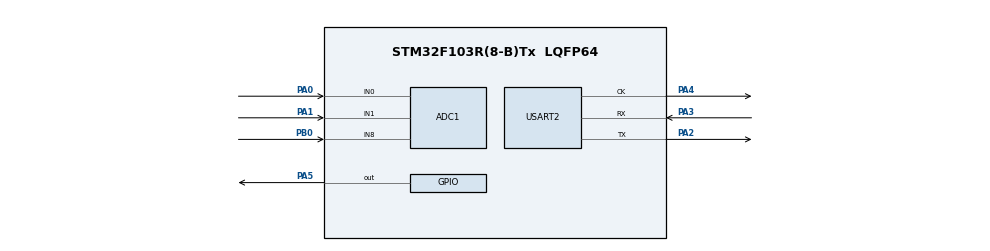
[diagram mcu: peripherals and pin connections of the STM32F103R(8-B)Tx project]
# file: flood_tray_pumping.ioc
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ADC1.Channel-0\#ChannelRegularConversion=ADC_CHANNEL_0
ADC1.Channel-1\#ChannelRegularConversion=ADC_CHANNEL_1
ADC1.Channel-2\#ChannelRegularConversion=ADC_CHANNEL_8
ADC1.NbrOfConversion=3
ADC1.NbrOfConversionFlag=1
ADC1.Rank-0\#ChannelRegularConversion=1
ADC1.Rank-1\#ChannelRegularConversion=2
ADC1.Rank-2\#ChannelRegularConversion=3
ADC1.SamplingTime-0\#ChannelRegularConversion=ADC_SAMPLETIME_28CYCLES_5
ADC1.SamplingTime-1\#ChannelRegularConversion=ADC_SAMPLETIME_55CYCLES_5
ADC1.SamplingTime-2\#ChannelRegularConversion=ADC_SAMPLETIME_71CYCLES_5
ADC1.master=1
Mcu.Family=STM32F1
Mcu.Name=STM32F103R(8-B)Tx
Mcu.Package=LQFP64
NVIC.PriorityGroup=NVIC_PRIORITYGROUP_4
PA0-WKUP.Signal=ADCx_IN0
PA1.Signal=ADCx_IN1
PA13.Mode=Serial_Wire
PA13.Signal=SYS_JTMS-SWDIO
PA14.Mode=Serial_Wire
PA14.Signal=SYS_JTCK-SWCLK
PA2.Mode=Synchronous
PA2.Signal=USART2_TX
PA3.Mode=Synchronous
PA3.Signal=USART2_RX
PA4.Mode=Synchronous
PA4.Signal=USART2_CK
PA5.Signal=GPIO_Output
PB0.Signal=ADCx_IN8
ProjectManager.HeapSize=0x200
ProjectManager.StackSize=0x400
ProjectManager.TargetToolchain=STM32CubeIDE
RCC.APB1Freq_Value=8000000
RCC.APB2Freq_Value=8000000
SH.ADCx_IN0.0=ADC1_IN0,IN0
SH.ADCx_IN1.0=ADC1_IN1,IN1
SH.ADCx_IN8.0=ADC1_IN8,IN8
USART2.VirtualMode=VM_SYNC
board=custom

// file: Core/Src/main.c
/* USER CODE BEGIN Header */
/**
  ******************************************************************************
  * @file           : main.c
  * @brief          : Main program body
  ******************************************************************************
  * @attention
  *
  * <h2><center>&copy; Copyright (c) 2022 STMicroelectronics.
  * All rights reserved.</center></h2>
  *
  * This software component is licensed by ST under BSD 3-Clause license,
  * the "License"; You may not use this file except in compliance with the
  * License. You may obtain a copy of the License at:
  *                        opensource.org/licenses/BSD-3-Clause
  *
  ******************************************************************************
  */ //yo
/* USER CODE END Header */
#include "main.h"

/* USER CODE BEGIN Includes */
#include <string.h>
#include <stdio.h>
/* USER CODE END Includes */

ADC_HandleTypeDef hadc1;

USART_HandleTypeDef husart2;

void SystemClock_Config(void);
static void MX_GPIO_Init(void);
static void MX_ADC1_Init(void);
static void MX_USART2_Init(void);

/* USER CODE BEGIN 0 */
void ADC_Select_CH0(void)
{
	ADC_ChannelConfTypeDef sConfig = {0};
	 /** Configure Regular Channel
	  */
	  sConfig.Channel = ADC_CHANNEL_0;
	  sConfig.Rank = 1; //ADC_REGULAR_RANK_1
	  sConfig.SamplingTime = ADC_SAMPLETIME_28CYCLES_5;
	  if (HAL_ADC_ConfigChannel(&hadc1, &sConfig) != HAL_OK)
	  {
	    Error_Handler();
	  }
}

void ADC_Select_CH1(void)
{
	ADC_ChannelConfTypeDef sConfig = {0};
	  /** Configure Regular Channel
	  */
	  sConfig.Channel = ADC_CHANNEL_1;
	  sConfig.Rank = 1; //ADC_REGULAR_RANK_2
	  sConfig.SamplingTime = ADC_SAMPLETIME_55CYCLES_5;
	  if (HAL_ADC_ConfigChannel(&hadc1, &sConfig) != HAL_OK)
	  {
	    Error_Handler();
	  }
}

void ADC_Select_CH8(void)
{
	ADC_ChannelConfTypeDef sConfig = {0};
	  /** Configure Regular Channel
	  */
	  sConfig.Channel = ADC_CHANNEL_8;
	  sConfig.Rank = 1; //ADC_REGULAR_RANK_3
	  sConfig.SamplingTime = ADC_SAMPLETIME_71CYCLES_5;
	  if (HAL_ADC_ConfigChannel(&hadc1, &sConfig) != HAL_OK)
	  {
	    Error_Handler();
	  }

}

uint16_t ADC_VAL[2]; //array to store values
char msg[10]; //10 character buffer

uint16_t var = 0;
float val = 0.0;
/* USER CODE END 0 */

int main(void)
{

  /* MCU Configuration--------------------------------------------------------*/

  /* Reset of all peripherals, Initializes the Flash interface and the Systick. */
  HAL_Init();

  /* Configure the system clock */
  SystemClock_Config();

  /* Initialize all configured peripherals */
  MX_GPIO_Init();
  MX_ADC1_Init();
  MX_USART2_Init();

  /* Infinite loop */
  while (1)
  {
	  ADC_Select_CH0();
	  HAL_ADC_Start(&hadc1);
	  HAL_ADC_PollForConversion(&hadc1, 1000);
	  ADC_VAL[0] = HAL_ADC_GetValue(&hadc1);
	  HAL_ADC_Stop(&hadc1);

	  ADC_Select_CH1();
	  HAL_ADC_Start(&hadc1);
	  HAL_ADC_PollForConversion(&hadc1, 1000);
	  ADC_VAL[1] = HAL_ADC_GetValue(&hadc1);
	  HAL_ADC_Stop(&hadc1);

	  ADC_Select_CH8();
	  HAL_ADC_Start(&hadc1);
	  HAL_ADC_PollForConversion(&hadc1, 1000);
	  ADC_VAL[2] = HAL_ADC_GetValue(&hadc1);
	  HAL_ADC_Stop(&hadc1);

	  HAL_USART_Transmit(&husart2, "\nSensor 1:", 10, 1000); // \n is a new line
	  sprintf(msg, "%hu\r\n", ADC_VAL[0]);
	  HAL_USART_Transmit(&husart2, (uint8_t*)msg, strlen(msg), HAL_MAX_DELAY);
	  HAL_Delay(1);

	  HAL_USART_Transmit(&husart2, "Sensor 2:", 10, 1000);
	  sprintf(msg, "%hu\r\n", ADC_VAL[1]);
	  HAL_USART_Transmit(&husart2, (uint8_t*)msg, strlen(msg), HAL_MAX_DELAY);
	  HAL_Delay(1);

	  HAL_USART_Transmit(&husart2, "Sensor 3:", 10, 1000);
	  sprintf(msg, "%hu\r\n", ADC_VAL[2]);
	  HAL_USART_Transmit(&husart2, (uint8_t*)msg, strlen(msg), HAL_MAX_DELAY);
	  HAL_Delay(1000);

  }
}

void SystemClock_Config(void)
{
  RCC_OscInitTypeDef RCC_OscInitStruct = {0};
  RCC_ClkInitTypeDef RCC_ClkInitStruct = {0};
  RCC_PeriphCLKInitTypeDef PeriphClkInit = {0};

  /** Initializes the RCC Oscillators according to the specified parameters
  * in the RCC_OscInitTypeDef structure.
  */
  RCC_OscInitStruct.OscillatorType = RCC_OSCILLATORTYPE_HSI;
  RCC_OscInitStruct.HSIState = RCC_HSI_ON;
  RCC_OscInitStruct.HSICalibrationValue = RCC_HSICALIBRATION_DEFAULT;
  RCC_OscInitStruct.PLL.PLLState = RCC_PLL_NONE;
  if (HAL_RCC_OscConfig(&RCC_OscInitStruct) != HAL_OK)
  {
    Error_Handler();
  }
  /** Initializes the CPU, AHB and APB buses clocks
  */
  RCC_ClkInitStruct.ClockType = RCC_CLOCKTYPE_HCLK|RCC_CLOCKTYPE_SYSCLK
                              |RCC_CLOCKTYPE_PCLK1|RCC_CLOCKTYPE_PCLK2;
  RCC_ClkInitStruct.SYSCLKSource = RCC_SYSCLKSOURCE_HSI;
  RCC_ClkInitStruct.AHBCLKDivider = RCC_SYSCLK_DIV1;
  RCC_ClkInitStruct.APB1CLKDivider = RCC_HCLK_DIV1;
  RCC_ClkInitStruct.APB2CLKDivider = RCC_HCLK_DIV1;

  if (HAL_RCC_ClockConfig(&RCC_ClkInitStruct, FLASH_LATENCY_0) != HAL_OK)
  {
    Error_Handler();
  }
  PeriphClkInit.PeriphClockSelection = RCC_PERIPHCLK_ADC;
  PeriphClkInit.AdcClockSelection = RCC_ADCPCLK2_DIV2;
  if (HAL_RCCEx_PeriphCLKConfig(&PeriphClkInit) != HAL_OK)
  {
    Error_Handler();
  }
}

static void MX_ADC1_Init(void)
{

  //ADC_ChannelConfTypeDef sConfig = {0};

  /** Common config
  */
  hadc1.Instance = ADC1;
  hadc1.Init.ScanConvMode = ADC_SCAN_ENABLE;
  hadc1.Init.ContinuousConvMode = DISABLE;
  hadc1.Init.DiscontinuousConvMode = DISABLE;
  hadc1.Init.ExternalTrigConv = ADC_SOFTWARE_START;
  hadc1.Init.DataAlign = ADC_DATAALIGN_RIGHT;
  hadc1.Init.NbrOfConversion = 3;
  if (HAL_ADC_Init(&hadc1) != HAL_OK)
  {
    Error_Handler();
  }
  /** Configure Regular Channel
  */
  /*sConfig.Channel = ADC_CHANNEL_0;
  sConfig.Rank = ADC_REGULAR_RANK_1;
  sConfig.SamplingTime = ADC_SAMPLETIME_28CYCLES_5;
  if (HAL_ADC_ConfigChannel(&hadc1, &sConfig) != HAL_OK)
  {
    Error_Handler();
  }
  * Configure Regular Channel

  sConfig.Channel = ADC_CHANNEL_1;
  sConfig.Rank = ADC_REGULAR_RANK_2;
  sConfig.SamplingTime = ADC_SAMPLETIME_55CYCLES_5;
  if (HAL_ADC_ConfigChannel(&hadc1, &sConfig) != HAL_OK)
  {
    Error_Handler();
  }
  * Configure Regular Channel

  sConfig.Channel = ADC_CHANNEL_8;
  sConfig.Rank = ADC_REGULAR_RANK_3;
  sConfig.SamplingTime = ADC_SAMPLETIME_71CYCLES_5;
  if (HAL_ADC_ConfigChannel(&hadc1, &sConfig) != HAL_OK)
  {
    Error_Handler();
  }*/

}

static void MX_USART2_Init(void)
{

  husart2.Instance = USART2;
  husart2.Init.BaudRate = 115200;
  husart2.Init.WordLength = USART_WORDLENGTH_8B;
  husart2.Init.StopBits = USART_STOPBITS_1;
  husart2.Init.Parity = USART_PARITY_NONE;
  husart2.Init.Mode = USART_MODE_TX_RX;
  husart2.Init.CLKPolarity = USART_POLARITY_LOW;
  husart2.Init.CLKPhase = USART_PHASE_1EDGE;
  husart2.Init.CLKLastBit = USART_LASTBIT_DISABLE;
  if (HAL_USART_Init(&husart2) != HAL_OK)
  {
    Error_Handler();
  }

}

static void MX_GPIO_Init(void)
{
  GPIO_InitTypeDef GPIO_InitStruct = {0};

  /* GPIO Ports Clock Enable */
  __HAL_RCC_GPIOA_CLK_ENABLE();
  __HAL_RCC_GPIOB_CLK_ENABLE();

  /*Configure GPIO pin Output Level */
  HAL_GPIO_WritePin(GPIOA, GPIO_PIN_5, GPIO_PIN_RESET);

  /*Configure GPIO pin : PA5 */
  GPIO_InitStruct.Pin = GPIO_PIN_5;
  GPIO_InitStruct.Mode = GPIO_MODE_OUTPUT_PP;
  GPIO_InitStruct.Pull = GPIO_NOPULL;
  GPIO_InitStruct.Speed = GPIO_SPEED_FREQ_LOW;
  HAL_GPIO_Init(GPIOA, &GPIO_InitStruct);

}

void Error_Handler(void)
{
  __disable_irq();
  while (1)
  {
  }
}

/************************ (C) COPYRIGHT STMicroelectronics *****END OF FILE****/
